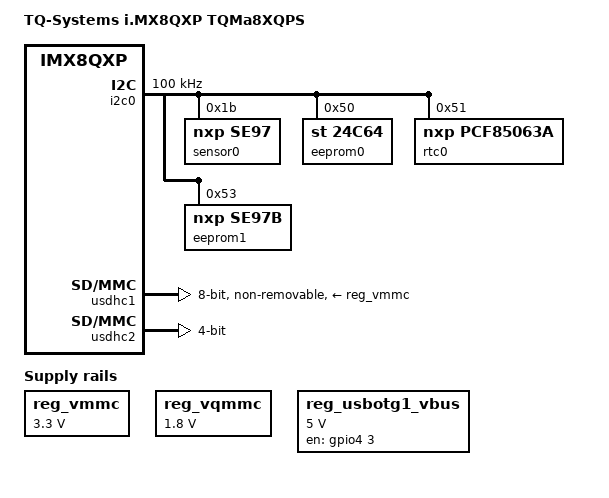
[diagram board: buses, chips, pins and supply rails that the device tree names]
// SPDX-License-Identifier: GPL-2.0-or-later OR MIT
/*
 * Copyright 2018 - 2020 TQ-Systems GmbH
 */

#include <dt-bindings/net/ti-dp83867.h>
#include "fsl-imx8qxp.dtsi"

/ {
	model = "TQ-Systems i.MX8QXP TQMa8XQPS";
	compatible = "tq,imx8qxp-tqma8xqps", "fsl,imx8qxp";

	config {
		/* 32 kiB redundant env */
		u-boot,mmc-env-offset = <0x400000>;
		u-boot,mmc-env-offset-redundant = <0x408000>;
	};

	reg_vmmc: regulator-vmmc {
		compatible = "regulator-fixed";
		regulator-name = "MMC0_3V3";
		regulator-min-microvolt = <3300000>;
		regulator-max-microvolt = <3300000>;
		regulator-always-on;
	};

	reg_vqmmc: regulator-vqmmc {
		compatible = "regulator-fixed";
		regulator-name = "MMC0_1V8";
		regulator-min-microvolt = <1800000>;
		regulator-max-microvolt = <1800000>;
		regulator-always-on;
	};

	reg_usbotg1_vbus: regulator-usbotg1-vbus {
		compatible = "regulator-fixed";
		regulator-name = "USBOTG1_VBUS";
		regulator-min-microvolt = <5000000>;
		regulator-max-microvolt = <5000000>;
		gpio = <&gpio4 3 GPIO_ACTIVE_HIGH>;
		enable-active-high;
	};
};

&i2c0 {
	#address-cells = <1>;
	#size-cells = <0>;
	clock-frequency = <100000>;
	pinctrl-names = "default";
	pinctrl-0 = <&pinctrl_lpi2c0>;
	status = "okay";

	/* NXP SE97BTP with temperature sensor + eeprom */
	sensor0: tempsensor@1b {
		compatible = "nxp,se97", "jedec,jc-42.4-temp";
		reg = <0x1b>;
		status = "okay";
	};

	eeprom0: eeprom@50 {
		compatible = "st,24c64", "atmel,24c64";
		reg = <0x50>;
		pagesize = <32>;
		status = "okay";
	};

	rtc0: rtc@51 {
		compatible = "nxp,pcf85063a";
		reg = <0x51>;
	};

	eeprom1: eeprom@53 {
		compatible = "nxp,se97b", "atmel,24c02";
		reg = <0x53>;
		pagesize = <16>;
		status = "okay";
	};
};

&iomuxc {
	pinctrl_lpi2c0: lpi2c0grp {
		fsl,pins = <
			SC_P_MIPI_CSI0_GPIO0_00_ADMA_I2C0_SCL	0x06000021
			SC_P_MIPI_CSI0_GPIO0_01_ADMA_I2C0_SDA	0x06000021
		>;
	};

	pinctrl_lpuart0: lpuart0grp {
		fsl,pins = <
			SC_P_UART0_RX_ADMA_UART0_RX	0x06000020
			SC_P_UART0_TX_ADMA_UART0_TX	0x06000020
		>;
	};

	pinctrl_usdhc1: usdhc1grp {
		fsl,pins = <
			SC_P_EMMC0_CLK_CONN_EMMC0_CLK		0x06000041
			SC_P_EMMC0_CMD_CONN_EMMC0_CMD		0x00000021
			SC_P_EMMC0_DATA0_CONN_EMMC0_DATA0	0x00000021
			SC_P_EMMC0_DATA1_CONN_EMMC0_DATA1	0x00000021
			SC_P_EMMC0_DATA2_CONN_EMMC0_DATA2	0x00000021
			SC_P_EMMC0_DATA3_CONN_EMMC0_DATA3	0x00000021
			SC_P_EMMC0_DATA4_CONN_EMMC0_DATA4	0x00000021
			SC_P_EMMC0_DATA5_CONN_EMMC0_DATA5	0x00000021
			SC_P_EMMC0_DATA6_CONN_EMMC0_DATA6	0x00000021
			SC_P_EMMC0_DATA7_CONN_EMMC0_DATA7	0x00000021
			SC_P_EMMC0_STROBE_CONN_EMMC0_STROBE	0x00000041
		>;
	};

	pinctrl_usdhc1_100mhz: usdhc1grp100mhz {
		fsl,pins = <
			SC_P_EMMC0_CLK_CONN_EMMC0_CLK		0x06000040
			SC_P_EMMC0_CMD_CONN_EMMC0_CMD		0x00000020
			SC_P_EMMC0_DATA0_CONN_EMMC0_DATA0	0x00000020
			SC_P_EMMC0_DATA1_CONN_EMMC0_DATA1	0x00000020
			SC_P_EMMC0_DATA2_CONN_EMMC0_DATA2	0x00000020
			SC_P_EMMC0_DATA3_CONN_EMMC0_DATA3	0x00000020
			SC_P_EMMC0_DATA4_CONN_EMMC0_DATA4	0x00000020
			SC_P_EMMC0_DATA5_CONN_EMMC0_DATA5	0x00000020
			SC_P_EMMC0_DATA6_CONN_EMMC0_DATA6	0x00000020
			SC_P_EMMC0_DATA7_CONN_EMMC0_DATA7	0x00000020
			SC_P_EMMC0_STROBE_CONN_EMMC0_STROBE	0x00000040
		>;
	};

	pinctrl_usdhc1_200mhz: usdhc1grp200mhz {
		fsl,pins = <
			SC_P_EMMC0_CLK_CONN_EMMC0_CLK		0x06000040
			SC_P_EMMC0_CMD_CONN_EMMC0_CMD		0x00000020
			SC_P_EMMC0_DATA0_CONN_EMMC0_DATA0	0x00000020
			SC_P_EMMC0_DATA1_CONN_EMMC0_DATA1	0x00000020
			SC_P_EMMC0_DATA2_CONN_EMMC0_DATA2	0x00000020
			SC_P_EMMC0_DATA3_CONN_EMMC0_DATA3	0x00000020
			SC_P_EMMC0_DATA4_CONN_EMMC0_DATA4	0x00000020
			SC_P_EMMC0_DATA5_CONN_EMMC0_DATA5	0x00000020
			SC_P_EMMC0_DATA6_CONN_EMMC0_DATA6	0x00000020
			SC_P_EMMC0_DATA7_CONN_EMMC0_DATA7	0x00000020
			SC_P_EMMC0_STROBE_CONN_EMMC0_STROBE	0x00000040
		>;
	};

	pinctrl_usdhc2_gpio: usdhc2gpiogrp {
		fsl,pins = <
			SC_P_USDHC1_RESET_B_LSIO_GPIO4_IO19	0x06000021
			SC_P_USDHC1_WP_LSIO_GPIO4_IO21		0x06000021
			SC_P_USDHC1_CD_B_LSIO_GPIO4_IO22	0x06000021
		>;
	};

	pinctrl_usdhc2: usdhc2grp {
		fsl,pins = <
			SC_P_USDHC1_CLK_CONN_USDHC1_CLK		0x06000041
			SC_P_USDHC1_CMD_CONN_USDHC1_CMD		0x00000021
			SC_P_USDHC1_DATA0_CONN_USDHC1_DATA0	0x00000021
			SC_P_USDHC1_DATA1_CONN_USDHC1_DATA1	0x00000021
			SC_P_USDHC1_DATA2_CONN_USDHC1_DATA2	0x00000021
			SC_P_USDHC1_DATA3_CONN_USDHC1_DATA3	0x00000021
			SC_P_USDHC1_VSELECT_CONN_USDHC1_VSELECT	0x00000021
		>;
	};

	pinctrl_usdhc2_100mhz: usdhc2grp100mhz {
		fsl,pins = <
			SC_P_USDHC1_CLK_CONN_USDHC1_CLK		0x06000040
			SC_P_USDHC1_CMD_CONN_USDHC1_CMD		0x00000020
			SC_P_USDHC1_DATA0_CONN_USDHC1_DATA0	0x00000020
			SC_P_USDHC1_DATA1_CONN_USDHC1_DATA1	0x00000020
			SC_P_USDHC1_DATA2_CONN_USDHC1_DATA2	0x00000020
			SC_P_USDHC1_DATA3_CONN_USDHC1_DATA3	0x00000020
			SC_P_USDHC1_VSELECT_CONN_USDHC1_VSELECT	0x00000020
		>;
	};

	pinctrl_usdhc2_200mhz: usdhc2grp200mhz {
		fsl,pins = <
			SC_P_USDHC1_CLK_CONN_USDHC1_CLK		0x06000040
			SC_P_USDHC1_CMD_CONN_USDHC1_CMD		0x00000020
			SC_P_USDHC1_DATA0_CONN_USDHC1_DATA0	0x00000020
			SC_P_USDHC1_DATA1_CONN_USDHC1_DATA1	0x00000020
			SC_P_USDHC1_DATA2_CONN_USDHC1_DATA2	0x00000020
			SC_P_USDHC1_DATA3_CONN_USDHC1_DATA3	0x00000020
			SC_P_USDHC1_VSELECT_CONN_USDHC1_VSELECT	0x00000020
		>;
	};
};

&lpuart0 {
	pinctrl-names = "default";
	pinctrl-0 = <&pinctrl_lpuart0>;
};

&usdhc1 {
	pinctrl-names = "default", "state_100mhz", "state_200mhz";
	pinctrl-0 = <&pinctrl_usdhc1>;
	pinctrl-1 = <&pinctrl_usdhc1_100mhz>;
	pinctrl-2 = <&pinctrl_usdhc1_200mhz>;
	vmmc-supply = <&reg_vmmc>;
	vqmmc-supply = <&reg_vqmmc>;
	bus-width = <8>;
	non-removable;
	no-sd;
	no-sdio;
	status = "okay";
};

&usdhc2 {
	pinctrl-names = "default", "state_100mhz", "state_200mhz";
	pinctrl-0 = <&pinctrl_usdhc2>, <&pinctrl_usdhc2_gpio>;
	pinctrl-1 = <&pinctrl_usdhc2_100mhz>, <&pinctrl_usdhc2_gpio>;
	pinctrl-2 = <&pinctrl_usdhc2_200mhz>, <&pinctrl_usdhc2_gpio>;
	bus-width = <4>;
	/* NOTE: CD / WP and VMMC support depends on mainboard */
};
